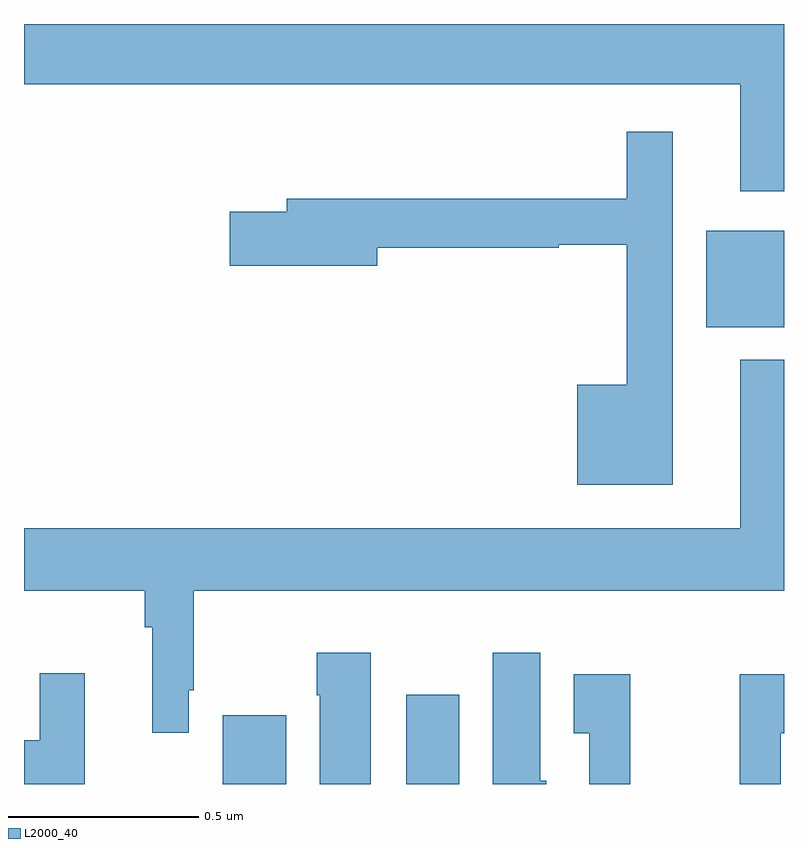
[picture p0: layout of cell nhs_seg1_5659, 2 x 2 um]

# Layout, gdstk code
import gdstk
lib = gdstk.Library(unit=1e-6, precision=1e-09)
def R(c, l, rs):  # rectangles x0, y0, x1, y1
    for r in rs: c.add(gdstk.rectangle(r[:2], r[2:], *l))
def P(c, l, *ps):  # polygons
    for p in ps: c.add(gdstk.Polygon(p, *l))
L2000_40 = (2000, 40)

nhs_seg1_5659 = lib.new_cell('nhs_seg1_5659')
R(nhs_seg1_5659, L2000_40, [(181.523,575.199,181.69,575.38), (182.006,575.199,182.146,575.434), (182.795,576.401,183,576.655)])
P(nhs_seg1_5659, L2000_40, [(183,577.199),(181,577.199),(181,577.04),(182.885,577.04),(182.885,576.759),(183,576.759)],
  [(182.707,576.916),(182.586,576.916),(182.586,576.739),(181.691,576.739),(181.691,576.705),(181.542,576.705),(181.542,576.563),(181.93,576.563),(181.93,576.61),(182.407,576.61),(182.407,576.618),(182.586,576.618),(182.586,576.25),(182.456,576.25),(182.456,575.987),(182.707,575.987)],
  [(181.434,575.446),(181.447,575.446),(181.447,575.708),(183,575.708),(183,576.316),(182.885,576.316),(182.885,575.872),(181,575.872),(181,575.708),(181.318,575.708),(181.318,575.612),(181.337,575.612),(181.337,575.334),(181.434,575.334)],
  [(182.374,575.208),(182.359,575.208),(182.359,575.545),(182.234,575.545),(182.234,575.199),(182.374,575.199)],
  [(181.912,575.545),(181.771,575.545),(181.771,575.432),(181.778,575.432),(181.778,575.199),(181.912,575.199)],
  [(181.16,575.491),(181.042,575.491),(181.042,575.314),(181,575.314),(181,575.199),(181.16,575.199)],
  [(182.596,575.488),(182.447,575.488),(182.447,575.332),(182.487,575.332),(182.487,575.199),(182.596,575.199)],
  [(182.991,575.332),(183,575.332),(183,575.488),(182.883,575.488),(182.883,575.199),(182.991,575.199)])

lib.write_gds('nhs_seg1_5659.gds')
